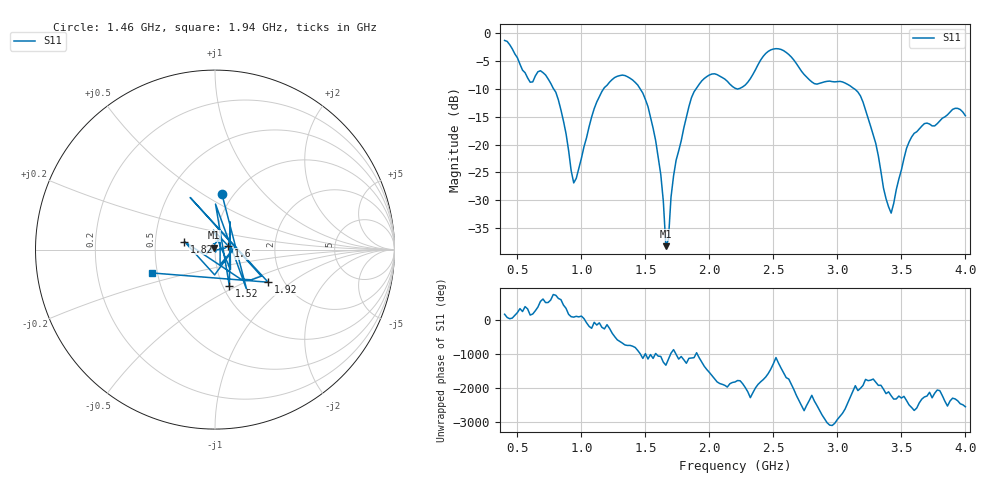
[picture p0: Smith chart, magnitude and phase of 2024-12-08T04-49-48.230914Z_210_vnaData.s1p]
!Created with skrf (http://scikit-rf.org).
# Hz S RI R 50.0
!freq ReS11 ImS11
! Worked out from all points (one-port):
!   181 points, 400 MHz to 4 GHz, reference 50 ohm
!   lowest |S11| = -38.2 dB at 1.66 GHz (marker M1), VSWR 1.02, Z = 49.6 + j1.15 ohm
!   |S11| at or under -10 dB: 782.7 MHz to 1.173 GHz (390.7 MHz wide, 39.9 % of centre); 1.459 GHz to 1.896 GHz (437.1 MHz wide, 26.1 % of centre); 3.132 GHz to end of sweep (the widest 3 of 4)
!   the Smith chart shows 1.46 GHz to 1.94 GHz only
!   S11 on the Smith chart (normalised r, x): 1.46 GHz: 0.88, +0.61; 1.52 GHz: 1.07, -0.46; 1.6 GHz: 1.16, +0.05; 1.82 GHz: 0.71, +0.07; 1.92 GHz: 1.66, -0.69; 1.94 GHz: 0.47, -0.14
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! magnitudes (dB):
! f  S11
! 400 MHz  -1.3
! 600 MHz  -8.8
! 720 MHz  -7.5
! 860 MHz  -15.8
! 940 MHz  -26.9
! 1.12 GHz  -12.4
! 1.3 GHz  -7.6
! 1.46 GHz  -10.1
! 1.52 GHz  -13.2
! 1.6 GHz  -22.4
! 1.64 GHz  -30.1
! 1.66 GHz  -38.2
! 1.68 GHz  -37.0
! 1.72 GHz  -25.6
! 1.76 GHz  -21.1
! 1.82 GHz  -15.1
! 1.92 GHz  -9.2
! 1.94 GHz  -8.6
! 2.2 GHz  -9.9
! 2.48 GHz  -3.0
! 2.66 GHz  -4.8
! 2.82 GHz  -9.1
! 3.1 GHz  -9.5
! 3.2 GHz  -12.4
! 3.42 GHz  -32.3
! 3.56 GHz  -19.5
! 3.9 GHz  -13.7
! 4 GHz  -14.8
